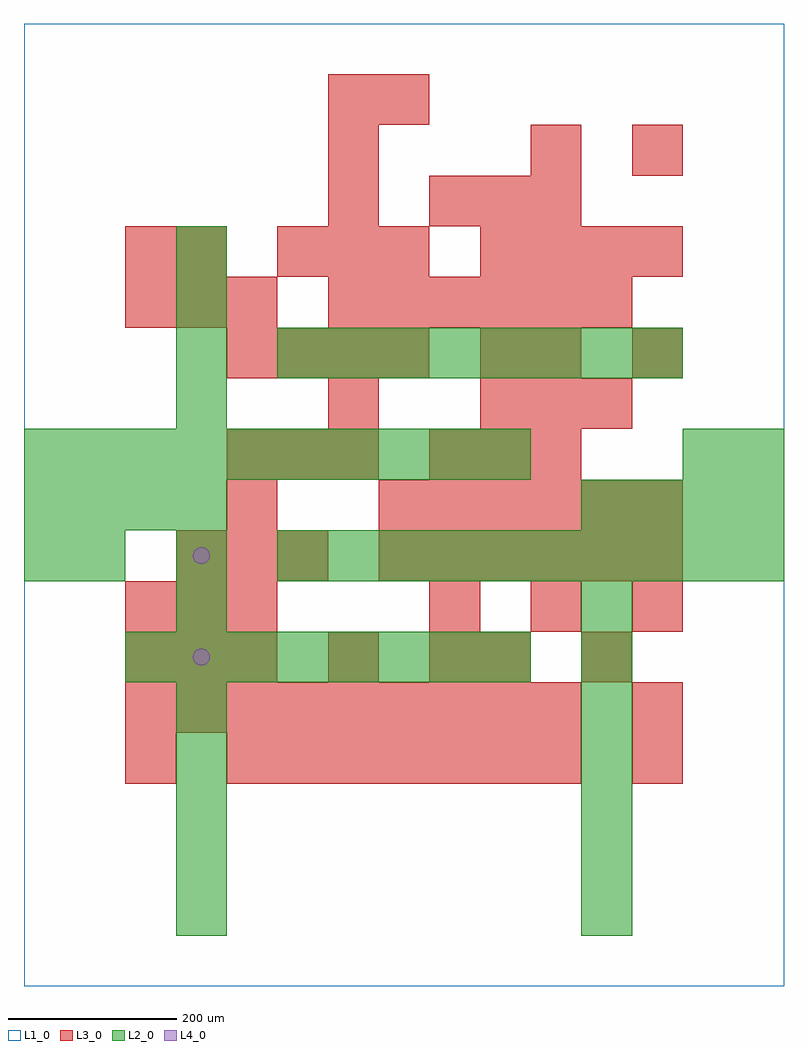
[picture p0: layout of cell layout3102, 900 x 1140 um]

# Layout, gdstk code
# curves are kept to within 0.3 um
import gdstk
lib = gdstk.Library(unit=1e-6, precision=1e-09)
def R(c, l, rs):  # rectangles x0, y0, x1, y1
    for r in rs: c.add(gdstk.rectangle(r[:2], r[2:], *l))
def A(c, l, x, y, w, h, nx, ny, dx, dy):  # array of equal rectangles
    R(c, l, [(x+i*dx, y+j*dy, x+i*dx+w, y+j*dy+h) for i in range(nx) for j in range(ny)])
def P(c, l, *ps):  # polygons
    for p in ps: c.add(gdstk.Polygon(p, *l))
L1_0 = (1, 0)
L2_0 = (2, 0)
L3_0 = (3, 0)
L4_0 = (4, 0)

layout3102 = lib.new_cell('layout3102')
R(layout3102, L1_0, [(0,0,900,1140)])
A(layout3102, L2_0, 180, 60, 60, 60, 1, 5, 0, 60)
A(layout3102, L2_0, 660, 60, 60, 60, 1, 7, 0, 60)
A(layout3102, L2_0, 120, 360, 60, 60, 8, 1, 60, 0)
A(layout3102, L2_0, 60, 480, 60, 60, 3, 1, 120, 0)
A(layout3102, L2_0, 360, 480, 60, 60, 9, 1, 60, 0)
A(layout3102, L2_0, 0, 540, 60, 60, 4, 1, 60, 0)
A(layout3102, L2_0, 660, 540, 60, 60, 4, 1, 60, 0)
A(layout3102, L2_0, 0, 600, 60, 60, 10, 1, 60, 0)
A(layout3102, L2_0, 180, 660, 60, 60, 1, 4, 0, 60)
A(layout3102, L2_0, 300, 720, 60, 60, 8, 1, 60, 0)
R(layout3102, L2_0, [(180,420,240,480), (0,480,60,540), (780,600,840,660), (840,600,900,660)])
A(layout3102, L3_0, 240, 240, 60, 60, 7, 1, 60, 0)
A(layout3102, L3_0, 120, 300, 60, 60, 9, 1, 60, 0)
A(layout3102, L3_0, 120, 360, 60, 60, 3, 2, 60, 60)
A(layout3102, L3_0, 480, 420, 60, 60, 3, 1, 120, 0)
A(layout3102, L3_0, 180, 480, 60, 60, 3, 1, 60, 0)
A(layout3102, L3_0, 420, 480, 60, 60, 6, 2, 60, 60)
A(layout3102, L3_0, 240, 600, 60, 60, 3, 1, 60, 0)
A(layout3102, L3_0, 480, 600, 60, 60, 3, 2, 60, 300)
A(layout3102, L3_0, 540, 660, 60, 60, 3, 1, 60, 0)
A(layout3102, L3_0, 240, 720, 60, 60, 4, 1, 60, 0)
A(layout3102, L3_0, 120, 780, 60, 60, 3, 1, 60, 0)
A(layout3102, L3_0, 360, 780, 60, 60, 6, 1, 60, 0)
A(layout3102, L3_0, 300, 840, 60, 60, 3, 1, 60, 0)
A(layout3102, L3_0, 540, 840, 60, 60, 4, 1, 60, 0)
A(layout3102, L3_0, 360, 900, 60, 60, 1, 3, 0, 60)
R(layout3102, L3_0, [(120,240,180,300), (720,240,780,300), (720,300,780,360), (360,360,420,420), (480,360,540,420), (540,360,600,420), (660,360,720,420), (240,540,300,600), (360,660,420,720), (540,720,600,780), (600,720,660,780), (720,720,780,780), (120,840,180,900), (180,840,240,900), (600,960,660,1020), (720,960,780,1020), (420,1020,480,1080)])
P(layout3102, L4_0, [(220,390),(219.239,393.827),(217.071,397.071),(213.827,399.239),(210,400),(206.173,399.239),(202.929,397.071),(200.761,393.827),(200,390),(200.761,386.173),(202.929,382.929),(206.173,380.761),(210,380),(213.827,380.761),(217.071,382.929),(219.239,386.173)],
  [(220,510),(219.239,513.827),(217.071,517.071),(213.827,519.239),(210,520),(206.173,519.239),(202.929,517.071),(200.761,513.827),(200,510),(200.761,506.173),(202.929,502.929),(206.173,500.761),(210,500),(213.827,500.761),(217.071,502.929),(219.239,506.173)])

lib.write_gds('layout3102.gds')
